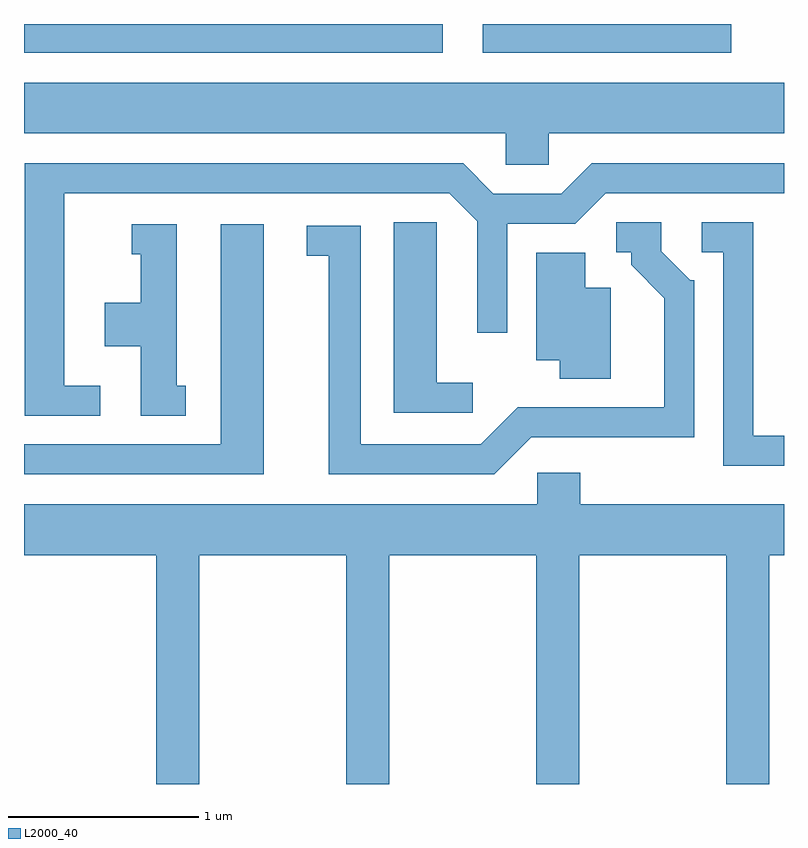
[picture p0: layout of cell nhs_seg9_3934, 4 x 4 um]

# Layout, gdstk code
import gdstk
lib = gdstk.Library(unit=1e-6, precision=1e-09)
def R(c, l, rs):  # rectangles x0, y0, x1, y1
    for r in rs: c.add(gdstk.rectangle(r[:2], r[2:], *l))
def P(c, l, *ps):  # polygons
    for p in ps: c.add(gdstk.Polygon(p, *l))
L2000_40 = (2000, 40)

nhs_seg9_3934 = lib.new_cell('nhs_seg9_3934')
R(nhs_seg9_3934, L2000_40, [(301.611,1952.281,303.814,1952.432), (304.026,1952.281,305.333,1952.432)])
P(nhs_seg9_3934, L2000_40, [(304.374,1951.856),(305.611,1951.856),(305.611,1952.124),(301.611,1952.124),(301.611,1951.856),(304.146,1951.856),(304.146,1951.691),(304.374,1951.691)],
  [(302.013,1950.529),(301.824,1950.529),(301.824,1951.541),(303.849,1951.541),(303.996,1951.394),(303.996,1950.808),(304.154,1950.808),(304.154,1951.381),(304.512,1951.381),(304.672,1951.541),(305.611,1951.541),(305.611,1951.699),(304.599,1951.699),(304.439,1951.539),(304.082,1951.539),(303.922,1951.699),(301.616,1951.699),(301.616,1950.371),(302.013,1950.371)],
  [(303.973,1950.544),(303.784,1950.544),(303.784,1951.389),(303.556,1951.389),(303.556,1950.386),(303.973,1950.386)],
  [(304.282,1950.256),(305.139,1950.256),(305.139,1951.084),(305.117,1951.084),(304.964,1951.237),(304.964,1951.389),(304.728,1951.389),(304.728,1951.231),(304.806,1951.231),(304.806,1951.164),(304.981,1950.989),(304.981,1950.414),(304.209,1950.414),(304.014,1950.219),(303.384,1950.219),(303.384,1951.369),(303.098,1951.369),(303.098,1951.211),(303.216,1951.211),(303.216,1950.061),(304.087,1950.061)],
  [(305.611,1950.264),(305.449,1950.264),(305.449,1951.389),(305.178,1951.389),(305.178,1951.231),(305.291,1951.231),(305.291,1950.106),(305.611,1950.106)],
  [(302.874,1951.379),(302.646,1951.379),(302.646,1950.219),(301.611,1950.219),(301.611,1950.061),(302.874,1950.061)],
  [(302.463,1950.529),(302.414,1950.529),(302.414,1951.379),(302.178,1951.379),(302.178,1951.221),(302.226,1951.221),(302.226,1950.964),(302.036,1950.964),(302.036,1950.736),(302.226,1950.736),(302.226,1950.371),(302.463,1950.371)],
  [(304.699,1951.044),(304.564,1951.044),(304.564,1951.229),(304.306,1951.229),(304.306,1950.661),(304.431,1950.661),(304.431,1950.566),(304.699,1950.566)],
  [(302.534,1949.636),(303.306,1949.636),(303.306,1948.432),(303.534,1948.432),(303.534,1949.636),(304.306,1949.636),(304.306,1948.432),(304.534,1948.432),(304.534,1949.636),(305.306,1949.636),(305.306,1948.432),(305.534,1948.432),(305.534,1949.636),(305.611,1949.636),(305.611,1949.904),(304.539,1949.904),(304.539,1950.069),(304.311,1950.069),(304.311,1949.904),(301.611,1949.904),(301.611,1949.636),(302.306,1949.636),(302.306,1948.432),(302.534,1948.432)])

lib.write_gds('nhs_seg9_3934.gds')
